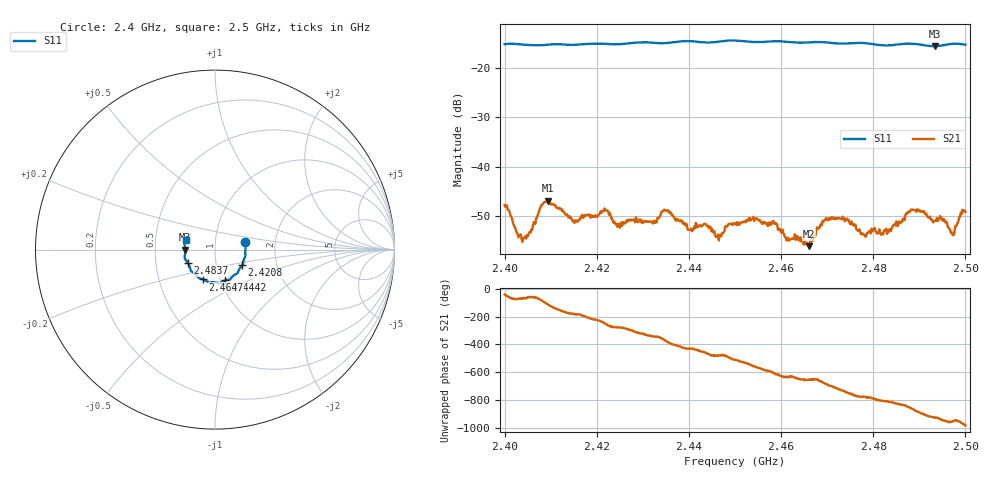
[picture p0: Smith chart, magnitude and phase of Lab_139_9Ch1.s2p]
# Hz S RI R 50
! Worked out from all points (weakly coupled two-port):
!   601 points, 2.4 GHz to 2.5 GHz, reference 50 ohm
!   highest |S21| = -46.90 dB at 2.4093 GHz (marker M1); lowest = -56.1 dB at 2.466 GHz (marker M2)
!   lowest |S11| = -15.6 dB at 2.4933 GHz (marker M3), VSWR 1.40, Z = 35.8 + j0.0402 ohm
!   |S11| at or under -10 dB: start of sweep to end of sweep
!   S12 and S22 are empty: the file has one direction only
!   S11 on the Smith chart (normalised r, x): 2.4 GHz: 1.40, +0.12; 2.4208 GHz: 1.33, -0.24; 2.4442 GHz: 1.05, -0.37; 2.4647 GHz: 0.83, -0.29; 2.4837 GHz: 0.73, -0.11; 2.5 GHz: 0.72, +0.08
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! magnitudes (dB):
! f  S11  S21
! 2.4 GHz  -15.2  -47.8
! 2.4042 GHz  -15.3  -54.5
! 2.4093 GHz  -15.3  -46.9
! 2.4167 GHz  -15.3  -50.0
! 2.4208 GHz  -15.1  -49.1
! 2.4247 GHz  -15.2  -51.6
! 2.4333 GHz  -15.0  -50.4
! 2.4442 GHz  -14.9  -52.0
! 2.4462 GHz  -14.8  -54.3
! 2.45 GHz  -14.5  -51.6
! 2.4585 GHz  -14.6  -51.6
! 2.4647 GHz  -14.9  -54.8
! 2.466 GHz  -14.9  -56.1
! 2.4667 GHz  -14.8  -54.6
! 2.471 GHz  -15.0  -50.2
! 2.478 GHz  -15.0  -53.8
! 2.4833 GHz  -15.5  -53.2
! 2.4837 GHz  -15.5  -52.7
! 2.4885 GHz  -15.1  -48.7
! 2.4933 GHz  -15.6  -51.0
! 2.4972 GHz  -15.2  -53.7
! 2.5 GHz  -15.3  -49.2
